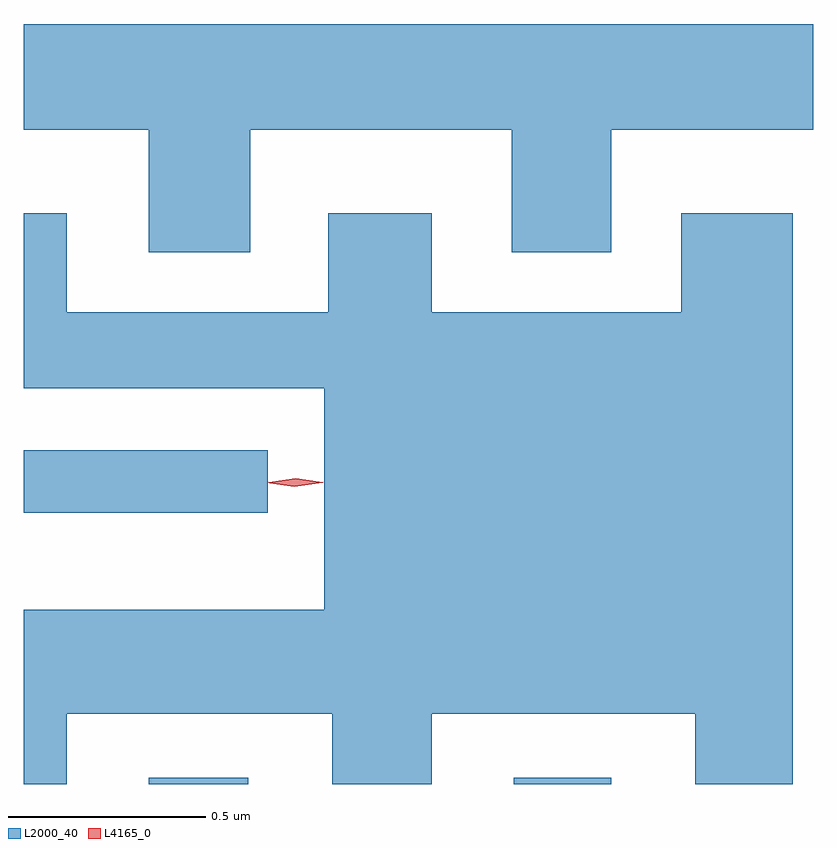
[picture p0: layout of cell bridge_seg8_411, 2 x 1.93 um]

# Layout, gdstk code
import gdstk
lib = gdstk.Library(unit=1e-6, precision=1e-09)
def R(c, l, rs):  # rectangles x0, y0, x1, y1
    for r in rs: c.add(gdstk.rectangle(r[:2], r[2:], *l))
def P(c, l, *ps):  # polygons
    for p in ps: c.add(gdstk.Polygon(p, *l))
L2000_40 = (2000, 40)
L4165_0 = (4165, 0)

bridge_seg8_411 = lib.new_cell('bridge_seg8_411')
R(bridge_seg8_411, L2000_40, [(628.366,1839.198,628.619,1839.214), (629.291,1839.198,629.539,1839.214), (628.05,1839.886,628.668,1840.044)])
P(bridge_seg8_411, L2000_40, [(628.624,1840.856),(629.286,1840.856),(629.286,1840.546),(629.539,1840.546),(629.539,1840.856),(630.05,1840.856),(630.05,1841.124),(628.05,1841.124),(628.05,1840.856),(628.366,1840.856),(628.366,1840.546),(628.624,1840.546)],
  [(628.159,1839.376),(628.831,1839.376),(628.831,1839.198),(629.084,1839.198),(629.084,1839.376),(629.751,1839.376),(629.751,1839.198),(629.999,1839.198),(629.999,1840.644),(629.716,1840.644),(629.716,1840.394),(629.084,1840.394),(629.084,1840.644),(628.821,1840.644),(628.821,1840.394),(628.159,1840.394),(628.159,1840.644),(628.05,1840.644),(628.05,1840.201),(628.811,1840.201),(628.811,1839.639),(628.05,1839.639),(628.05,1839.198),(628.159,1839.198)])
P(bridge_seg8_411, L4165_0, [(628.739,1839.953),(628.67,1839.962),(628.669,1839.963),(628.67,1839.963),(628.739,1839.973),(628.807,1839.963),(628.808,1839.963),(628.807,1839.962)],
  [(628.735,1839.951),(628.673,1839.96),(628.673,1839.961),(628.673,1839.961),(628.735,1839.971),(628.797,1839.961),(628.798,1839.961),(628.797,1839.96)])

lib.write_gds('bridge_seg8_411.gds')
